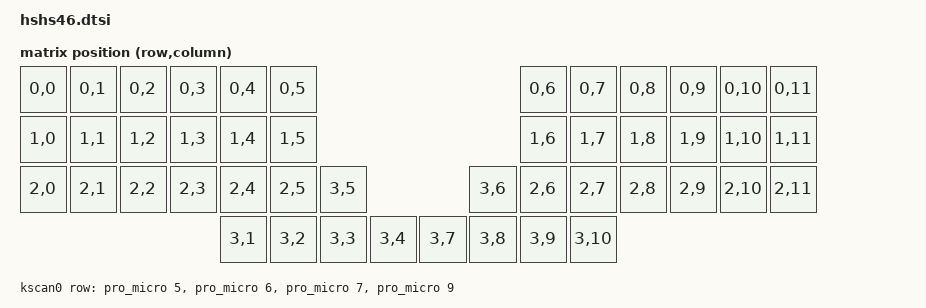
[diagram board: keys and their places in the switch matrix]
/*
 * Copyright (c) 2021-2022 The ZMK Contributors
 *
 * SPDX-License-Identifier: MIT
 */

#include <dt-bindings/zmk/matrix_transform.h>

/ {
    chosen {
        zmk,kscan = &kscan0;
        zmk,matrix_transform = &default_transform;
        // zmk,battery = &vbatt;
    };

    default_transform: keymap_transform_0 {
        compatible = "zmk,matrix-transform";
        columns = <12>;
        rows = <4>;
// | SW1  | SW2  | SW3  | SW4  | SW5  | SW6  |                                   | SW6  | SW5  | SW4  | SW3  | SW2  | SW1  |
// | SW7  | SW8  | SW9  | SW10 | SW11 | SW12 |                                   | SW12 | SW11 | SW10 | SW9  | SW8  | SW7  |
// | SW13 | SW14 | SW15 | SW16 | SW17 | SW18 / SW19 /                     \ SW19 \ SW18 | SW17 | SW16 | SW15 | SW14 | SW13 |
//                         | SW20 / SW21 / SW22 / SW23 /               \ SW23 \ SW23 \ SW21 \ SW20 |
        map = <
RC(0,0) RC(0,1) RC(0,2) RC(0,3) RC(0,4) RC(0,5)                                   RC(0,6) RC(0,7) RC(0,8) RC(0,9) RC(0,10) RC(0,11)
RC(1,0) RC(1,1) RC(1,2) RC(1,3) RC(1,4) RC(1,5)                                   RC(1,6) RC(1,7) RC(1,8) RC(1,9) RC(1,10) RC(1,11)
RC(2,0) RC(2,1) RC(2,2) RC(2,3) RC(2,4) RC(2,5) RC(3,5)                   RC(3,6) RC(2,6) RC(2,7) RC(2,8) RC(2,9) RC(2,10) RC(2,11)
                                RC(3,1) RC(3,2) RC(3,3) RC(3,4)   RC(3,7) RC(3,8) RC(3,9) RC(3,10)
        >;
    };

    kscan0: kscan {
        compatible = "zmk,kscan-gpio-matrix";
        label = "KSCAN";

        diode-direction = "col2row";
        row-gpios
            = <&pro_micro 5 (GPIO_ACTIVE_HIGH | GPIO_PULL_DOWN)>
            , <&pro_micro 6 (GPIO_ACTIVE_HIGH | GPIO_PULL_DOWN)>
            , <&pro_micro 7 (GPIO_ACTIVE_HIGH | GPIO_PULL_DOWN)>
            , <&pro_micro 9 (GPIO_ACTIVE_HIGH | GPIO_PULL_DOWN)>
            ;

    };
/*
    vbatt: vbatt {
            compatible = "zmk,battery-nrf-vddh";
            label = "BATTERY";
    };

*/
};


/* Configuration Pin Control : On map le SPI sur les broches de l'OLED 
&pinctrl {
    spi0_default: spi0_default {
        group1 {
            // SCK sur la broche D3 (SCL de l'OLED) -> P0.20 
            psels = <NRF_PSEL(SPIM_SCK, 0, 20)>,
            // MOSI sur la broche D2 (SDA de l'OLED) -> P0.17
                    <NRF_PSEL(SPIM_MOSI, 0, 17)>,
            / MISO non utilisé (on met une broche libre, ex: D0/P0.08)
                    <NRF_PSEL(SPIM_MISO, 0, 8)>;
        };
    };
    spi0_sleep: spi0_sleep {
        group1 {
            psels = <NRF_PSEL(SPIM_SCK, 0, 20)>,
                    <NRF_PSEL(SPIM_MOSI, 0, 17)>,
                    <NRF_PSEL(SPIM_MISO, 0, 8)>;
            low-power-enable;
        };
    };
};

// On désactive l'I2C pour libérer les broches P0.17 et P0.20
&pro_micro_i2c {
    status = "disabled";
};

// On active le SPI avec notre config et le CS sur D1 (P0.06)
&pro_micro_spi {
    status = "okay";
    compatible = "nordic,nrf-spim";
    pinctrl-0 = <&spi0_default>;
    pinctrl-1 = <&spi0_sleep>;
    pinctrl-names = "default", "sleep";
    
    // Le fil de bodge CS est sur la broche D1 (P0.06)
    cs-gpios = <&pro_micro 1 GPIO_ACTIVE_HIGH>;
};

nice_view_spi: &pro_micro_spi {
    compatible = "nordic,nrf-spim";
};
*/
